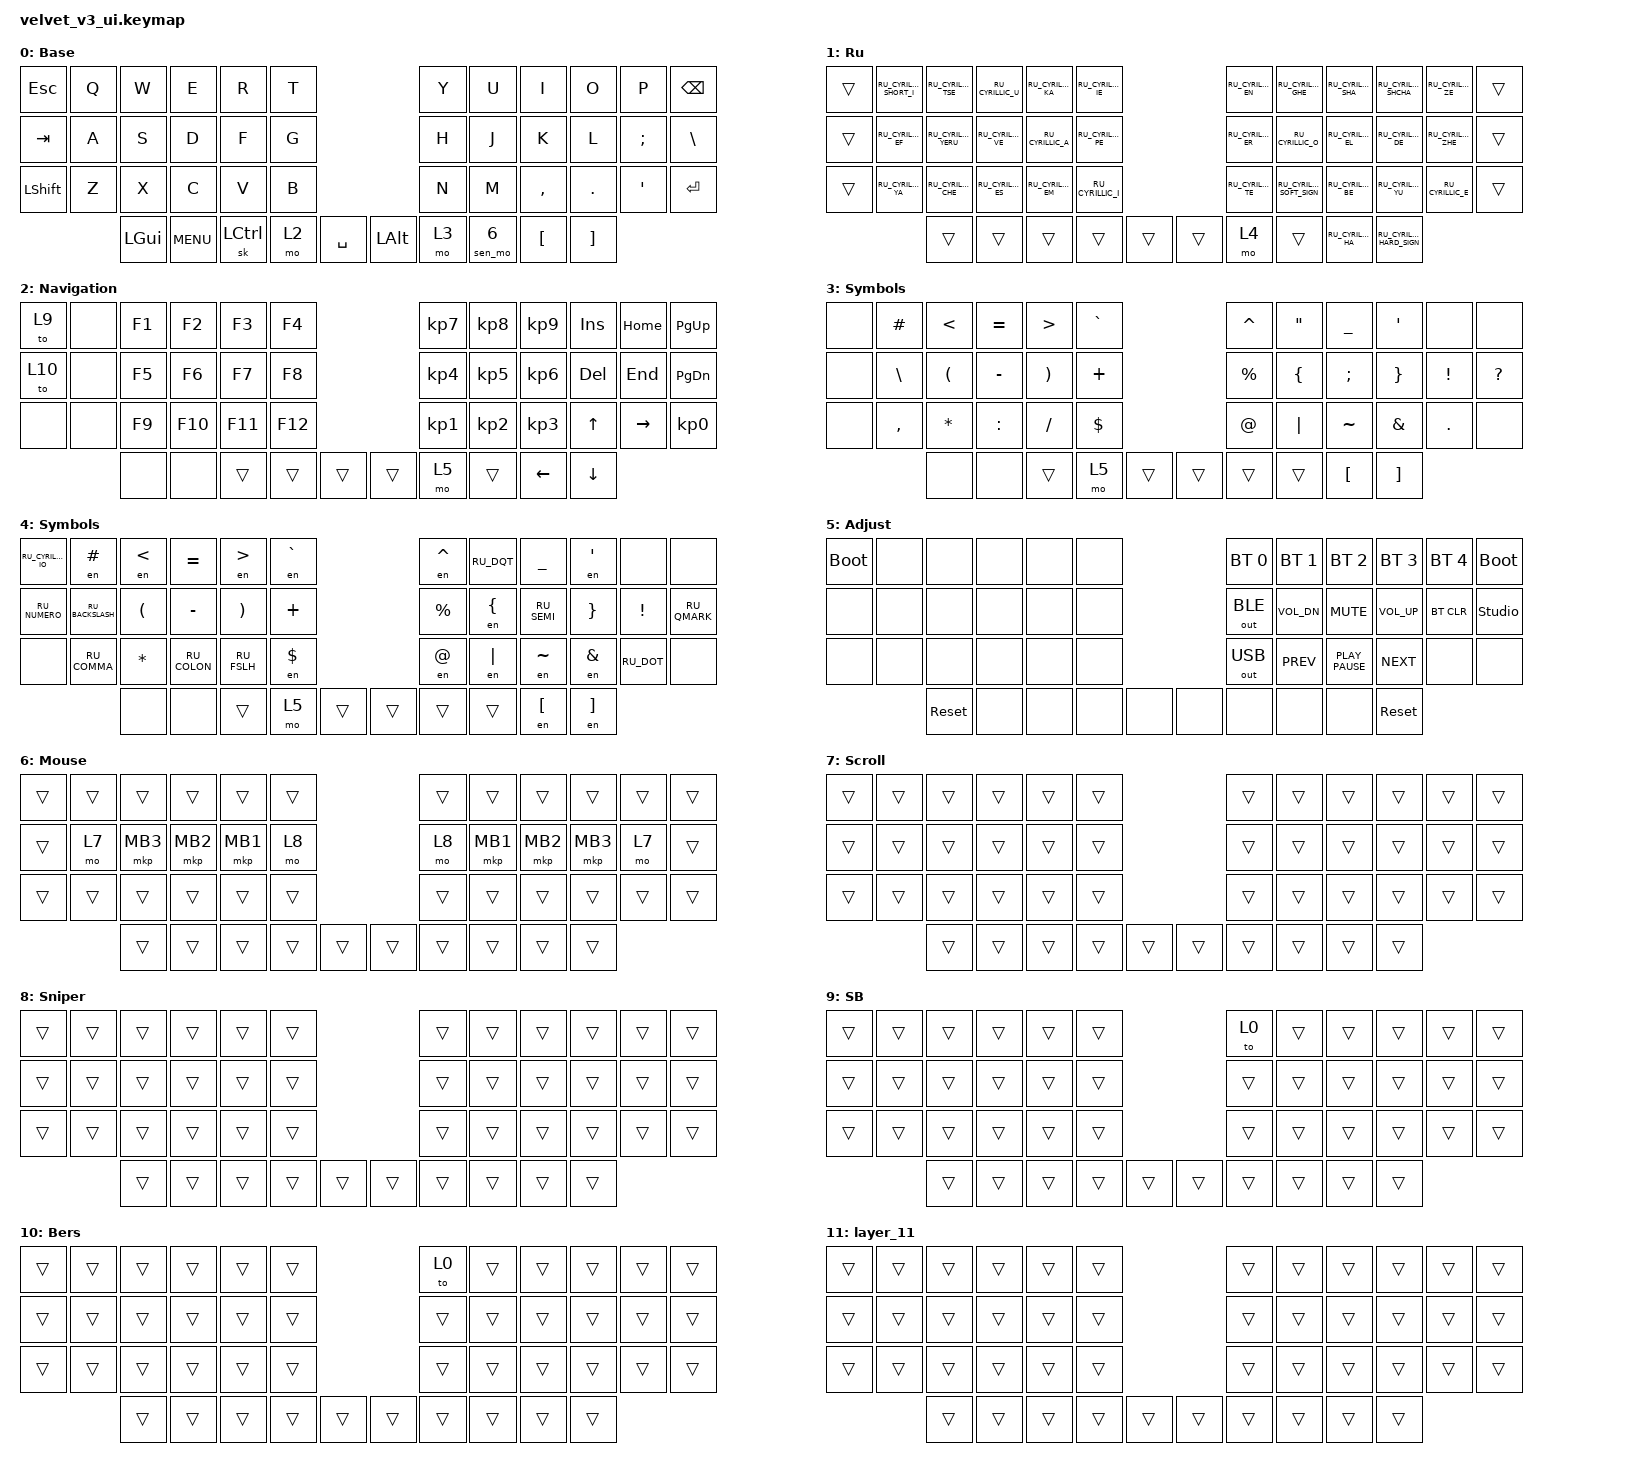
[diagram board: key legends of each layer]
#include "keys_ru.h"
#include <dt-bindings/zmk/input_transform.h>
#include <input/processors.dtsi>
#include <zephyr/dt-bindings/input/input-event-codes.h>
#include <behaviors.dtsi>
#include <dt-bindings/zmk/bt.h>
#include <dt-bindings/zmk/keys.h>
#include <dt-bindings/zmk/outputs.h>
#include <dt-bindings/zmk/pointing.h>

/ {
    behaviors {
        cap_sen: cap_sen {
            compatible = "zmk,behavior-hold-tap";
            label = "CAP_SEN";
            bindings = <&mo>, <&mkp>;

            #binding-cells = <2>;
            tapping-term-ms = <150>;
            hold-while-undecided;
        };
    };

    combos {
        compatible = "zmk,combos";

        cmben {
            bindings = <&layer_en>;
            key-positions = <8 9>;
            layers = <1>;
        };

        cmbru {
            bindings = <&layer_ru>;
            key-positions = <3 2>;
            layers = <0>;
        };
    };

    macros {
        to_ru: to_ru {
            compatible = "zmk,behavior-macro";
            #binding-cells = <0>;
            bindings = <&kp RC(LS(K_MENU))>;
            label = "TO_RU";
            wait-ms = <0>;
            tap-ms = <30>;
        };

        to_en: to_en {
            compatible = "zmk,behavior-macro";
            #binding-cells = <0>;
            bindings = <&kp LC(LEFT_GUI)>;
            label = "TO_EN";
            wait-ms = <0>;
            tap-ms = <30>;
        };

        layer_en: layer_en {
            compatible = "zmk,behavior-macro";
            #binding-cells = <0>;
            bindings = <&to 0 &to_en>;
            label = "LAYER_EN";
            wait-ms = <0>;
            tap-ms = <30>;
        };

        layer_ru: layer_ru {
            compatible = "zmk,behavior-macro";
            #binding-cells = <0>;
            bindings = <&to 1 &to_ru>;
            label = "LAYER_RU";
            tap-ms = <30>;
            wait-ms = <0>;
        };

        en: en {
            compatible = "zmk,behavior-macro-one-param";
            #binding-cells = <1>;
            bindings =
                <&to_en>,
                <&macro_press>,
                <&macro_param_1to1 &kp MACRO_PLACEHOLDER>,
                <&macro_pause_for_release>,
                <&macro_release>,
                <&macro_param_1to1 &kp MACRO_PLACEHOLDER>,
                <&macro_tap>,
                <&to_ru>;

            label = "EN";
            wait-ms = <0>;
            tap-ms = <30>;
        };

        sen_mo: sen_mo {
            compatible = "zmk,behavior-macro-one-param";
            #binding-cells = <1>;
            bindings =
                <&macro_wait_time 150>,
                <&macro_press>,
                <&macro_param_1to1>,
                <&macro_press>,
                <&mo MACRO_PLACEHOLDER>,
                <&macro_pause_for_release>,
                <&macro_release>,
                <&macro_param_1to1>,
                <&macro_press>,
                <&mo MACRO_PLACEHOLDER>;

            label = "SEN_MO";
        };
    };

    keymap {
        compatible = "zmk,keymap";

        en {
            bindings = <
&kp ESC         &kp Q  &kp W         &kp E       &kp R      &kp T                             &kp Y  &kp U      &kp I      &kp O     &kp P     &kp BSPC
&kp TAB         &kp A  &kp S         &kp D       &kp F      &kp G                             &kp H  &kp J      &kp K      &kp L     &kp SEMI  &kp BSLH
&kp LEFT_SHIFT  &kp Z  &kp X         &kp C       &kp V      &kp B                             &kp N  &kp M      &kp COMMA  &kp DOT   &kp SQT   &kp ENTER
                       &kp LEFT_GUI  &kp K_MENU  &sk LCTRL  &mo 2  &kp SPACE    &kp LEFT_ALT  &mo 3  &sen_mo 6  &kp LBKT   &kp RBKT
            >;

            display-name = "Base";
        };

        ru {
            display-name = "Ru";
            bindings = <
&trans  &kp RU_CYRILLIC_SHORT_I  &kp RU_CYRILLIC_TSE   &kp RU_CYRILLIC_U   &kp RU_CYRILLIC_KA  &kp RU_CYRILLIC_IE                    &kp RU_CYRILLIC_EN  &kp RU_CYRILLIC_GHE        &kp RU_CYRILLIC_SHA  &kp RU_CYRILLIC_SHCHA      &kp RU_CYRILLIC_ZE   &trans
&trans  &kp RU_CYRILLIC_EF       &kp RU_CYRILLIC_YERU  &kp RU_CYRILLIC_VE  &kp RU_CYRILLIC_A   &kp RU_CYRILLIC_PE                    &kp RU_CYRILLIC_ER  &kp RU_CYRILLIC_O          &kp RU_CYRILLIC_EL   &kp RU_CYRILLIC_DE         &kp RU_CYRILLIC_ZHE  &trans
&trans  &kp RU_CYRILLIC_YA       &kp RU_CYRILLIC_CHE   &kp RU_CYRILLIC_ES  &kp RU_CYRILLIC_EM  &kp RU_CYRILLIC_I                     &kp RU_CYRILLIC_TE  &kp RU_CYRILLIC_SOFT_SIGN  &kp RU_CYRILLIC_BE   &kp RU_CYRILLIC_YU         &kp RU_CYRILLIC_E    &trans
                                 &trans                &trans              &trans              &trans              &trans    &trans  &mo 4               &trans                     &kp RU_CYRILLIC_HA   &kp RU_CYRILLIC_HARD_SIGN
            >;
        };

        nav {
            bindings = <
&to 9   &none  &kp F1  &kp F2   &kp F3   &kp F4                     &kp KP_NUMBER_7  &kp KP_NUMBER_8  &kp KP_NUMBER_9  &kp INS         &kp HOME         &kp PG_UP
&to 10  &none  &kp F5  &kp F6   &kp F7   &kp F8                     &kp KP_NUMBER_4  &kp KP_NUMBER_5  &kp KP_NUMBER_6  &kp DELETE      &kp END          &kp PAGE_DOWN
&none   &none  &kp F9  &kp F10  &kp F11  &kp F12                    &kp KP_NUMBER_1  &kp KP_NUMBER_2  &kp KP_NUMBER_3  &kp UP          &kp RIGHT_ARROW  &kp KP_NUMBER_0
               &none   &none    &trans   &trans   &trans    &trans  &mo 5            &trans           &kp LEFT         &kp DOWN_ARROW
            >;

            display-name = "Navigation";
        };

        sym_en {
            bindings = <
&none  &kp HASH   &kp LT    &kp EQUAL  &kp GT    &kp GRAVE                    &kp CARET  &kp DQT   &kp UNDER  &kp SQT   &none     &none
&none  &kp BSLH   &kp LPAR  &kp MINUS  &kp RPAR  &kp PLUS                     &kp PRCNT  &kp LBRC  &kp SEMI   &kp RBRC  &kp EXCL  &kp QUESTION
&none  &kp COMMA  &kp STAR  &kp COLON  &kp FSLH  &kp DLLR                     &kp AT     &kp PIPE  &kp TILDE  &kp AMPS  &kp DOT   &none
                  &none     &none      &trans    &mo 5      &trans    &trans  &trans     &trans    &kp LBKT   &kp RBKT
            >;

            display-name = "Symbols";
        };

        sym_ru {
            display-name = "Symbols";
            bindings = <
&kp RU_CYRILLIC_IO  &en HASH          &en LT    &kp EQUAL     &en GT       &en GRAVE                    &en CARET  &kp RU_DQT  &kp UNDER    &en SQT   &none       &none
&kp RU_NUMERO       &kp RU_BACKSLASH  &kp LPAR  &kp MINUS     &kp RPAR     &kp PLUS                     &kp PRCNT  &en LBRC    &kp RU_SEMI  &kp RBRC  &kp EXCL    &kp RU_QMARK
&none               &kp RU_COMMA      &kp STAR  &kp RU_COLON  &kp RU_FSLH  &en DLLR                     &en AT     &en PIPE    &en TILDE    &en AMPS  &kp RU_DOT  &none
                                      &none     &none         &trans       &mo 5      &trans    &trans  &trans     &trans      &en LBKT     &en RBKT
            >;
        };

        adj {
            bindings = <
&bootloader  &none  &none       &none  &none  &none                  &bt BT_SEL 0  &bt BT_SEL 1  &bt BT_SEL 2      &bt BT_SEL 3  &bt BT_SEL 4  &bootloader
&none        &none  &none       &none  &none  &none                  &out OUT_BLE  &kp C_VOL_DN  &kp K_MUTE        &kp C_VOL_UP  &bt BT_CLR    &studio_unlock
&none        &none  &none       &none  &none  &none                  &out OUT_USB  &kp K_PREV    &kp K_PLAY_PAUSE  &kp K_NEXT    &none         &none
                    &sys_reset  &none  &none  &none  &none    &none  &none         &none         &none             &sys_reset
            >;

            display-name = "Adjust";
        };

        mouse {
            bindings = <
&trans  &trans  &trans    &trans    &trans    &trans                    &trans  &trans    &trans    &trans    &trans  &trans
&trans  &mo 7   &mkp MB3  &mkp MB2  &mkp MB1  &mo 8                     &mo 8   &mkp MB1  &mkp MB2  &mkp MB3  &mo 7   &trans
&trans  &trans  &trans    &trans    &trans    &trans                    &trans  &trans    &trans    &trans    &trans  &trans
                &trans    &trans    &trans    &trans  &trans    &trans  &trans  &trans    &trans    &trans
            >;

            display-name = "Mouse";
        };

        scroll {
            bindings = <
&trans  &trans  &trans  &trans  &trans  &trans                    &trans  &trans  &trans  &trans  &trans  &trans
&trans  &trans  &trans  &trans  &trans  &trans                    &trans  &trans  &trans  &trans  &trans  &trans
&trans  &trans  &trans  &trans  &trans  &trans                    &trans  &trans  &trans  &trans  &trans  &trans
                &trans  &trans  &trans  &trans  &trans    &trans  &trans  &trans  &trans  &trans
            >;

            display-name = "Scroll";
        };

        sniper {
            bindings = <
&trans  &trans  &trans  &trans  &trans  &trans                    &trans  &trans  &trans  &trans  &trans  &trans
&trans  &trans  &trans  &trans  &trans  &trans                    &trans  &trans  &trans  &trans  &trans  &trans
&trans  &trans  &trans  &trans  &trans  &trans                    &trans  &trans  &trans  &trans  &trans  &trans
                &trans  &trans  &trans  &trans  &trans    &trans  &trans  &trans  &trans  &trans
            >;

            display-name = "Sniper";
        };

        SB {
            bindings = <
&trans  &trans  &trans  &trans  &trans  &trans                    &to 0   &trans  &trans  &trans  &trans  &trans
&trans  &trans  &trans  &trans  &trans  &trans                    &trans  &trans  &trans  &trans  &trans  &trans
&trans  &trans  &trans  &trans  &trans  &trans                    &trans  &trans  &trans  &trans  &trans  &trans
                &trans  &trans  &trans  &trans  &trans    &trans  &trans  &trans  &trans  &trans
            >;
        };

        Bers {
            bindings = <
&trans  &trans  &trans  &trans  &trans  &trans                    &to 0   &trans  &trans  &trans  &trans  &trans
&trans  &trans  &trans  &trans  &trans  &trans                    &trans  &trans  &trans  &trans  &trans  &trans
&trans  &trans  &trans  &trans  &trans  &trans                    &trans  &trans  &trans  &trans  &trans  &trans
                &trans  &trans  &trans  &trans  &trans    &trans  &trans  &trans  &trans  &trans
            >;
        };

        layer_11 {
            bindings = <
&trans  &trans  &trans  &trans  &trans  &trans                    &trans  &trans  &trans  &trans  &trans  &trans
&trans  &trans  &trans  &trans  &trans  &trans                    &trans  &trans  &trans  &trans  &trans  &trans
&trans  &trans  &trans  &trans  &trans  &trans                    &trans  &trans  &trans  &trans  &trans  &trans
                &trans  &trans  &trans  &trans  &trans    &trans  &trans  &trans  &trans  &trans
            >;
        };
    };
};

&trackball { cpi = <1000>; };

&trackball_listener {
    input-processors = <&zip_xy_scaler 9 20>;

    scroller {
        layers = <7>;
        input-processors =
            <&zip_xy_transform INPUT_TRANSFORM_Y_INVERT>,
            <&zip_xy_scaler 1 32>,
            <&zip_xy_to_scroll_mapper>;
    };

    sniper {
        layers = <8>;
        input-processors = <&zip_xy_scaler 1 4>;
    };
};
